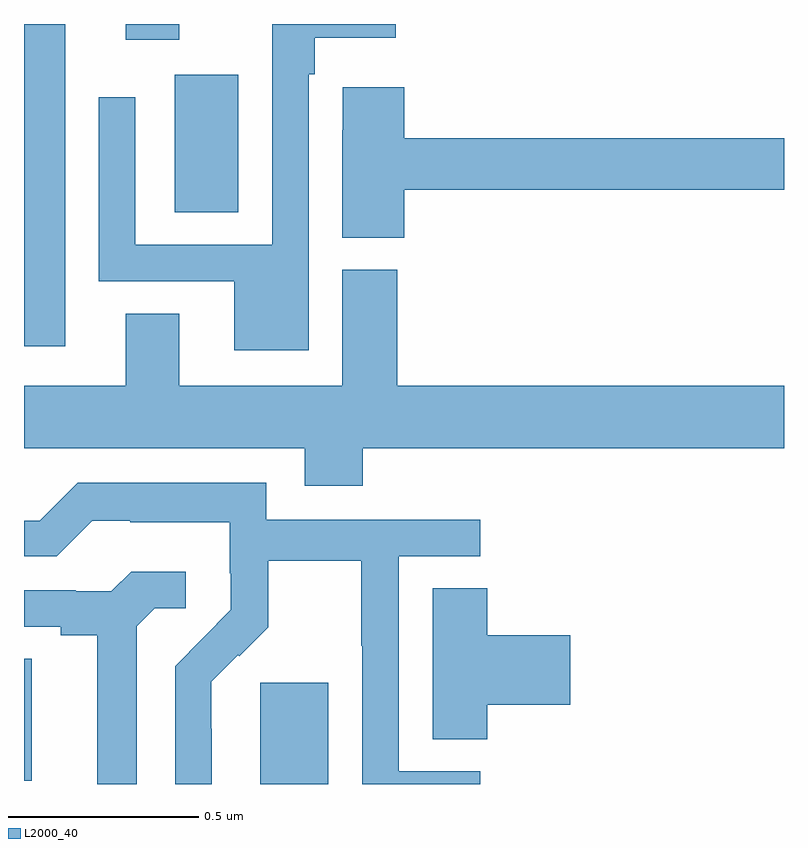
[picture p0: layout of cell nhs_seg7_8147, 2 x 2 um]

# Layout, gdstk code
import gdstk
lib = gdstk.Library(unit=1e-6, precision=1e-09)
def R(c, l, rs):  # rectangles x0, y0, x1, y1
    for r in rs: c.add(gdstk.rectangle(r[:2], r[2:], *l))
def P(c, l, *ps):  # polygons
    for p in ps: c.add(gdstk.Polygon(p, *l))
L2000_40 = (2000, 40)

nhs_seg7_8147 = lib.new_cell('nhs_seg7_8147')
R(nhs_seg7_8147, L2000_40, [(220.622,1065,220.801,1065.267), (220,1065.009,220.021,1065.329), (220,1066.152,220.108,1067), (220.397,1066.504,220.564,1066.867), (220.268,1066.959,220.408,1067)])
P(nhs_seg7_8147, L2000_40, [(220.749,1066.868),(220.765,1066.868),(220.765,1066.964),(220.978,1066.964),(220.978,1067),(220.653,1067),(220.653,1066.419),(220.293,1066.419),(220.293,1066.807),(220.197,1066.807),(220.197,1066.323),(220.553,1066.323),(220.553,1066.142),(220.749,1066.142)],
  [(221,1066.564),(222,1066.564),(222,1066.7),(221,1066.7),(221,1066.834),(220.839,1066.834),(220.839,1066.721),(220.838,1066.721),(220.838,1066.438),(221,1066.438)],
  [(220.892,1065.884),(222,1065.884),(222,1066.048),(220.982,1066.048),(220.982,1066.353),(220.838,1066.353),(220.838,1066.048),(220.408,1066.048),(220.408,1066.238),(220.268,1066.238),(220.268,1066.048),(220,1066.048),(220,1065.884),(220.739,1065.884),(220.739,1065.785),(220.892,1065.785)],
  [(220.494,1065.146),(220.493,1065.146),(220.493,1065.269),(220.563,1065.339),(220.566,1065.336),(220.643,1065.413),(220.643,1065.588),(220.888,1065.588),(220.888,1065.364),(220.89,1065.364),(220.89,1065),(221.2,1065),(221.2,1065.033),(220.986,1065.033),(220.986,1065.6),(221.2,1065.6),(221.2,1065.696),(220.638,1065.696),(220.638,1065.793),(220.141,1065.793),(220.041,1065.693),(220,1065.693),(220,1065.6),(220.086,1065.6),(220.179,1065.693),(220.279,1065.693),(220.279,1065.689),(220.542,1065.689),(220.542,1065.555),(220.544,1065.555),(220.544,1065.458),(220.47,1065.384),(220.471,1065.383),(220.398,1065.31),(220.398,1065),(220.494,1065)],
  [(220.297,1065.415),(220.344,1065.462),(220.426,1065.462),(220.426,1065.559),(220.282,1065.559),(220.23,1065.507),(220.136,1065.507),(220.136,1065.51),(220,1065.51),(220,1065.414),(220.097,1065.414),(220.097,1065.392),(220.193,1065.392),(220.193,1065),(220.297,1065)],
  [(221.219,1065.209),(221.437,1065.209),(221.437,1065.392),(221.219,1065.392),(221.219,1065.515),(221.075,1065.515),(221.075,1065.118),(221.219,1065.118)])

lib.write_gds('nhs_seg7_8147.gds')
